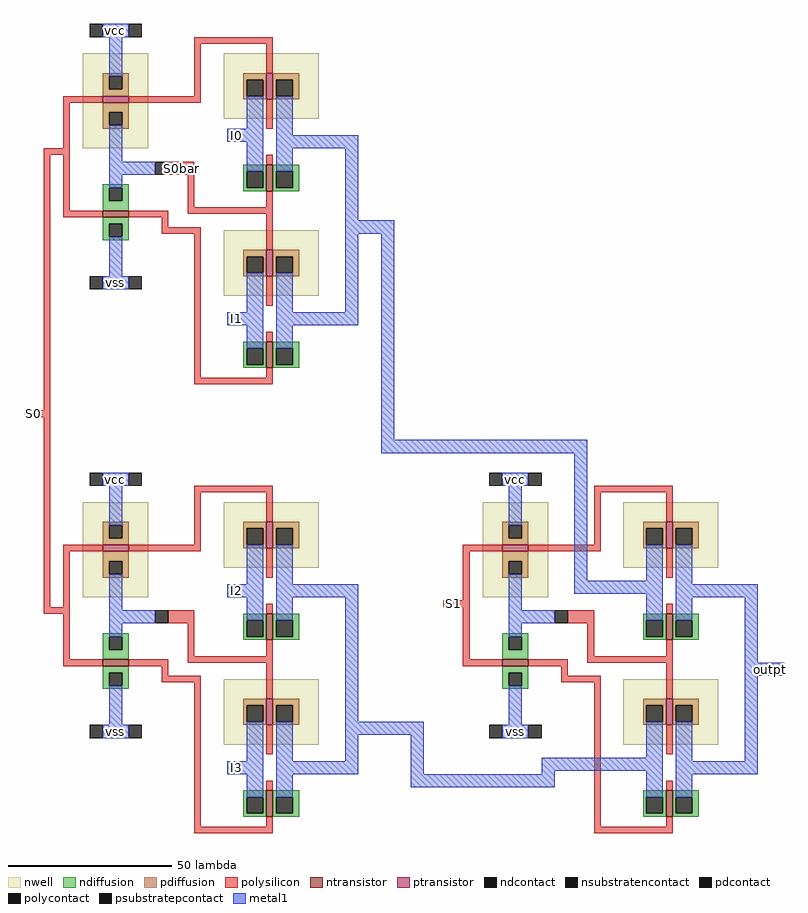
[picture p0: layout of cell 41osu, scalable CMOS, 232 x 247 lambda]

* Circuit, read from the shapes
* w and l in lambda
.subckt 41osu I0 I1 I2 I3 S0 S0bar S1 outpt vcc vss
M1 n1 S0 vss vss nfet w=8 l=2
M2 S0bar S0 vss vss nfet w=8 l=2
M3 n2 S0 I3 vss nfet w=8 l=2
M4 n2 n1 I2 vss nfet w=8 l=2
M5 n3 S0 I1 vss nfet w=8 l=2
M6 n3 S0bar I0 vss nfet w=8 l=2
M7 n4 S1 vss vss nfet w=8 l=2
M8 outpt S1 n2 vss nfet w=8 l=2
M9 outpt n4 n3 vss nfet w=8 l=2
M10 vcc S0 n1 n5 pfet w=8 l=2
M11 vcc S0 S0bar n6 pfet w=8 l=2
M12 n2 n1 I3 n7 pfet w=8 l=2
M13 n2 S0 I2 n8 pfet w=8 l=2
M14 n3 S0bar I1 n9 pfet w=8 l=2
M15 n3 S0 I0 n10 pfet w=8 l=2
M16 vcc S1 n4 n11 pfet w=8 l=2
M17 outpt n4 n2 n12 pfet w=8 l=2
M18 outpt S1 n3 n13 pfet w=8 l=2
.ends

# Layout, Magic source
magic
tech scmos
<< nwell >>
rect -32 136 -12 165
rect 11 145 40 165
rect 11 91 40 111
rect -32 -1 -12 28
rect 11 8 40 28
rect 90 -1 110 28
rect 133 8 162 28
rect 11 -46 40 -26
rect 133 -46 162 -26
<< ntransistor >>
rect 24 123 26 131
rect -26 115 -18 117
rect 24 69 26 77
rect 24 -14 26 -6
rect -26 -22 -18 -20
rect 146 -14 148 -6
rect 96 -22 104 -20
rect 24 -68 26 -60
rect 146 -68 148 -60
<< ptransistor >>
rect -26 150 -18 152
rect 24 151 26 159
rect 24 97 26 105
rect -26 13 -18 15
rect 24 14 26 22
rect 96 13 104 15
rect 146 14 148 22
rect 24 -40 26 -32
rect 146 -40 148 -32
<< ndiffusion >>
rect -26 124 -18 125
rect -26 120 -24 124
rect -20 120 -18 124
rect -26 117 -18 120
rect 17 129 24 131
rect 17 124 18 129
rect 23 124 24 129
rect 17 123 24 124
rect 26 129 34 131
rect 26 124 27 129
rect 32 124 34 129
rect 26 123 34 124
rect -26 113 -18 115
rect -26 109 -24 113
rect -20 109 -18 113
rect -26 108 -18 109
rect 17 75 24 77
rect 17 70 18 75
rect 23 70 24 75
rect 17 69 24 70
rect 26 75 34 77
rect 26 70 27 75
rect 32 70 34 75
rect 26 69 34 70
rect -26 -13 -18 -12
rect -26 -17 -24 -13
rect -20 -17 -18 -13
rect -26 -20 -18 -17
rect 17 -8 24 -6
rect 17 -13 18 -8
rect 23 -13 24 -8
rect 17 -14 24 -13
rect 26 -8 34 -6
rect 26 -13 27 -8
rect 32 -13 34 -8
rect 26 -14 34 -13
rect -26 -24 -18 -22
rect -26 -28 -24 -24
rect -20 -28 -18 -24
rect -26 -29 -18 -28
rect 96 -13 104 -12
rect 96 -17 98 -13
rect 102 -17 104 -13
rect 96 -20 104 -17
rect 139 -8 146 -6
rect 139 -13 140 -8
rect 145 -13 146 -8
rect 139 -14 146 -13
rect 148 -8 156 -6
rect 148 -13 149 -8
rect 154 -13 156 -8
rect 148 -14 156 -13
rect 96 -24 104 -22
rect 96 -28 98 -24
rect 102 -28 104 -24
rect 96 -29 104 -28
rect 17 -62 24 -60
rect 17 -67 18 -62
rect 23 -67 24 -62
rect 17 -68 24 -67
rect 26 -62 34 -60
rect 26 -67 27 -62
rect 32 -67 34 -62
rect 26 -68 34 -67
rect 139 -62 146 -60
rect 139 -67 140 -62
rect 145 -67 146 -62
rect 139 -68 146 -67
rect 148 -62 156 -60
rect 148 -67 149 -62
rect 154 -67 156 -62
rect 148 -68 156 -67
<< pdiffusion >>
rect -26 158 -18 159
rect -26 154 -24 158
rect -20 154 -18 158
rect -26 152 -18 154
rect 17 157 24 159
rect 17 152 18 157
rect 23 152 24 157
rect 17 151 24 152
rect 26 157 34 159
rect 26 152 27 157
rect 32 152 34 157
rect 26 151 34 152
rect -26 147 -18 150
rect -26 143 -24 147
rect -20 143 -18 147
rect -26 142 -18 143
rect 17 103 24 105
rect 17 98 18 103
rect 23 98 24 103
rect 17 97 24 98
rect 26 103 34 105
rect 26 98 27 103
rect 32 98 34 103
rect 26 97 34 98
rect -26 21 -18 22
rect -26 17 -24 21
rect -20 17 -18 21
rect -26 15 -18 17
rect 17 20 24 22
rect 17 15 18 20
rect 23 15 24 20
rect 17 14 24 15
rect 26 20 34 22
rect 26 15 27 20
rect 32 15 34 20
rect 96 21 104 22
rect 96 17 98 21
rect 102 17 104 21
rect 96 15 104 17
rect 26 14 34 15
rect -26 10 -18 13
rect -26 6 -24 10
rect -20 6 -18 10
rect -26 5 -18 6
rect 139 20 146 22
rect 139 15 140 20
rect 145 15 146 20
rect 139 14 146 15
rect 148 20 156 22
rect 148 15 149 20
rect 154 15 156 20
rect 148 14 156 15
rect 96 10 104 13
rect 96 6 98 10
rect 102 6 104 10
rect 96 5 104 6
rect 17 -34 24 -32
rect 17 -39 18 -34
rect 23 -39 24 -34
rect 17 -40 24 -39
rect 26 -34 34 -32
rect 26 -39 27 -34
rect 32 -39 34 -34
rect 26 -40 34 -39
rect 139 -34 146 -32
rect 139 -39 140 -34
rect 145 -39 146 -34
rect 139 -40 146 -39
rect 148 -34 156 -32
rect 148 -39 149 -34
rect 154 -39 156 -34
rect 148 -40 156 -39
<< ndcontact >>
rect -24 120 -20 124
rect 18 124 23 129
rect 27 124 32 129
rect -24 109 -20 113
rect 18 70 23 75
rect 27 70 32 75
rect -24 -17 -20 -13
rect 18 -13 23 -8
rect 27 -13 32 -8
rect -24 -28 -20 -24
rect 98 -17 102 -13
rect 140 -13 145 -8
rect 149 -13 154 -8
rect 98 -28 102 -24
rect 18 -67 23 -62
rect 27 -67 32 -62
rect 140 -67 145 -62
rect 149 -67 154 -62
<< pdcontact >>
rect -24 154 -20 158
rect 18 152 23 157
rect 27 152 32 157
rect -24 143 -20 147
rect 18 98 23 103
rect 27 98 32 103
rect -24 17 -20 21
rect 18 15 23 20
rect 27 15 32 20
rect 98 17 102 21
rect -24 6 -20 10
rect 140 15 145 20
rect 149 15 154 20
rect 98 6 102 10
rect 18 -39 23 -34
rect 27 -39 32 -34
rect 140 -39 145 -34
rect 149 -39 154 -34
<< psubstratepcontact >>
rect -30 93 -26 97
rect -18 93 -14 97
rect -30 -44 -26 -40
rect -18 -44 -14 -40
rect 92 -44 96 -40
rect 104 -44 108 -40
<< nsubstratencontact >>
rect -30 170 -26 174
rect -18 170 -14 174
rect -30 33 -26 37
rect -18 33 -14 37
rect 92 33 96 37
rect 104 33 108 37
<< polysilicon >>
rect 2 168 26 170
rect 2 152 4 168
rect 24 159 26 168
rect -38 150 -26 152
rect -18 150 4 152
rect -38 136 -36 150
rect 24 142 26 151
rect -44 134 -36 136
rect -44 56 -42 134
rect -38 117 -36 134
rect -6 128 2 132
rect 24 131 26 134
rect 0 118 2 128
rect 24 118 26 123
rect -38 115 -26 117
rect -18 115 -6 117
rect 0 116 26 118
rect -8 112 -6 115
rect -8 110 4 112
rect 2 66 4 110
rect 24 105 26 116
rect 24 88 26 97
rect 24 77 26 80
rect 24 66 26 69
rect 2 64 26 66
rect -50 54 -42 56
rect -44 -4 -42 54
rect 2 31 26 33
rect 2 15 4 31
rect 24 22 26 31
rect 124 31 148 33
rect -38 13 -26 15
rect -18 13 4 15
rect 124 15 126 31
rect 146 22 148 31
rect -38 -4 -36 13
rect 24 5 26 14
rect 84 13 96 15
rect 104 13 126 15
rect 84 -2 86 13
rect 146 5 148 14
rect -44 -6 -36 -4
rect -38 -20 -36 -6
rect -6 -9 2 -5
rect 24 -6 26 -3
rect 78 -4 86 -2
rect 0 -19 2 -9
rect 24 -19 26 -14
rect -38 -22 -26 -20
rect -18 -22 -6 -20
rect 0 -21 26 -19
rect -8 -25 -6 -22
rect -8 -27 4 -25
rect 2 -71 4 -27
rect 24 -32 26 -21
rect 84 -20 86 -4
rect 116 -9 124 -5
rect 146 -6 148 -3
rect 122 -19 124 -9
rect 146 -19 148 -14
rect 84 -22 96 -20
rect 104 -22 116 -20
rect 122 -21 148 -19
rect 114 -25 116 -22
rect 114 -27 126 -25
rect 24 -49 26 -40
rect 24 -60 26 -57
rect 24 -71 26 -68
rect 2 -73 26 -71
rect 124 -71 126 -27
rect 146 -32 148 -21
rect 146 -49 148 -40
rect 146 -60 148 -57
rect 146 -71 148 -68
rect 124 -73 148 -71
<< polycontact >>
rect -10 128 -6 132
rect -10 -9 -6 -5
rect 112 -9 116 -5
<< metal1 >>
rect -26 170 -18 174
rect -24 158 -20 170
rect -24 132 -20 143
rect 18 142 23 152
rect 12 138 23 142
rect -24 128 -10 132
rect 18 129 23 138
rect -24 124 -20 128
rect 27 140 32 152
rect 27 136 52 140
rect 27 129 32 136
rect 48 114 52 136
rect -24 97 -20 109
rect 48 110 63 114
rect -26 93 -18 97
rect 18 86 23 98
rect 12 82 23 86
rect 18 75 23 82
rect 27 86 32 98
rect 48 86 52 110
rect 27 82 52 86
rect 27 75 32 82
rect 59 47 63 110
rect 59 43 122 47
rect -26 33 -18 37
rect 96 33 104 37
rect -24 21 -20 33
rect 98 21 102 33
rect -24 -5 -20 6
rect 18 3 23 15
rect 12 -1 23 3
rect -24 -9 -10 -5
rect 18 -8 23 -1
rect -24 -13 -20 -9
rect 27 3 32 15
rect 27 -1 52 3
rect 27 -8 32 -1
rect -24 -40 -20 -28
rect -26 -44 -18 -40
rect 18 -51 23 -39
rect 12 -55 23 -51
rect 18 -62 23 -55
rect 27 -51 32 -39
rect 48 -39 52 -1
rect 98 -5 102 6
rect 118 4 122 43
rect 140 4 145 15
rect 118 0 145 4
rect 98 -9 112 -5
rect 140 -8 145 0
rect 98 -13 102 -9
rect 149 3 154 15
rect 149 -1 174 3
rect 149 -8 154 -1
rect 170 -21 174 -1
rect 48 -43 72 -39
rect 98 -40 102 -28
rect 170 -25 182 -21
rect 48 -51 52 -43
rect 27 -55 52 -51
rect 68 -55 72 -43
rect 96 -44 104 -40
rect 140 -50 145 -39
rect 108 -54 145 -50
rect 108 -55 112 -54
rect 27 -62 32 -55
rect 68 -59 112 -55
rect 140 -62 145 -54
rect 149 -51 154 -39
rect 170 -51 174 -25
rect 149 -55 174 -51
rect 149 -62 154 -55
<< labels >>
rlabel polysilicon 81 -3 81 -3 1 S1
rlabel polysilicon -47 55 -47 55 3 S0
rlabel metal1 15 140 15 140 1 I0
rlabel metal1 15 84 15 84 1 I1
rlabel metal1 15 1 15 1 1 I2
rlabel metal1 15 -53 15 -53 1 I3
rlabel metal1 178 -23 178 -23 7 outpt
rlabel metal1 -22 172 -22 172 5 vcc
rlabel metal1 -22 95 -22 95 1 vss
rlabel metal1 -22 35 -22 35 1 vcc
rlabel metal1 -22 -42 -22 -42 1 vss
rlabel metal1 100 -42 100 -42 1 vss
rlabel metal1 100 35 100 35 1 vcc
rlabel polysilicon -2 130 -2 130 1 S0bar
<< end >>
